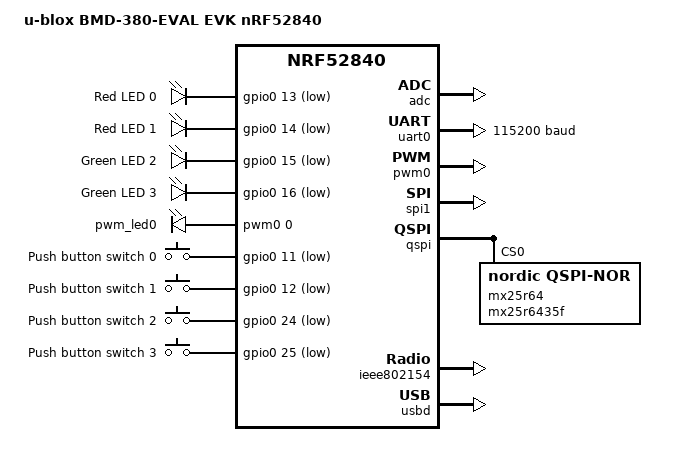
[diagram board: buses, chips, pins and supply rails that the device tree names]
/*
 * BMD-380-EVAL board configuration
 * Copyright (c) 2021 u-blox AG
 *
 * SPDX-License-Identifier: Apache-2.0
 */

/dts-v1/;
#include <nordic/nrf52840_qiaa.dtsi>
#include "ubx_bmd380eval_nrf52840-pinctrl.dtsi"
/* should be ckaa, but not available yet */

/ {
	model = "u-blox BMD-380-EVAL EVK nRF52840";
	compatible = "u-blox,ubx-bmd380eval-nrf52840";

	chosen {
		zephyr,console = &uart0;
		zephyr,shell-uart = &uart0;
		zephyr,uart-mcumgr = &uart0;
		zephyr,bt-mon-uart = &uart0;
		zephyr,bt-c2h-uart = &uart0;
		zephyr,sram = &sram0;
		zephyr,flash = &flash0;
		zephyr,code-partition = &slot0_partition;
		zephyr,ieee802154 = &ieee802154;
	};

	leds {
		compatible = "gpio-leds";
		led0: led_0 {
			gpios = <&gpio0 13 GPIO_ACTIVE_LOW>;
			label = "Red LED 0";
		};
		led1: led_1 {
			gpios = <&gpio0 14 GPIO_ACTIVE_LOW>;
			label = "Red LED 1";
		};
		led2: led_2 {
			gpios = <&gpio0 15 GPIO_ACTIVE_LOW>;
			label = "Green LED 2";
		};
		led3: led_3 {
			gpios = <&gpio0 16 GPIO_ACTIVE_LOW>;
			label = "Green LED 3";
		};
	};

	pwmleds {
		compatible = "pwm-leds";
		pwm_led0: pwm_led_0 {
			pwms = <&pwm0 0 PWM_MSEC(20) PWM_POLARITY_INVERTED>;
		};
	};

	buttons {
		compatible = "gpio-keys";
		button0: button_0 {
			gpios = <&gpio0 11 (GPIO_PULL_UP | \
					    GPIO_ACTIVE_LOW)>;
			label = "Push button switch 0";
		};
		button1: button_1 {
			gpios = <&gpio0 12 (GPIO_PULL_UP | \
					    GPIO_ACTIVE_LOW)>;
			label = "Push button switch 1";
		};
		button2: button_2 {
			gpios = <&gpio0 24 (GPIO_PULL_UP | \
					    GPIO_ACTIVE_LOW)>;
			label = "Push button switch 2";
		};
		button3: button_3 {
			gpios = <&gpio0 25 (GPIO_PULL_UP | \
					    GPIO_ACTIVE_LOW)>;
			label = "Push button switch 3";
		};
	};

	/* These aliases are provided for compatibility with samples */
	aliases {
		led0 = &led0;
		led1 = &led1;
		led2 = &led2;
		led3 = &led3;
		pwm-led0 = &pwm_led0;
		sw0 = &button0;
		sw1 = &button1;
		sw2 = &button2;
		sw3 = &button3;
		watchdog0 = &wdt0;
	};
};

&adc {
	status = "okay";
};

&gpiote {
	status = "okay";
};

&gpio0 {
	status = "okay";
};

&gpio1 {
	status = "okay";
};

&uart0 {
	compatible = "nordic,nrf-uart";
	status = "okay";
	current-speed = <115200>;
	pinctrl-0 = <&uart0_default>;
	pinctrl-1 = <&uart0_sleep>;
	pinctrl-names = "default", "sleep";
};

&i2c1 {
	compatible = "nordic,nrf-twi";
	/* Cannot be used together with spi1. */
	/* status = "okay"; */
	pinctrl-0 = <&i2c1_default>;
	pinctrl-1 = <&i2c1_sleep>;
	pinctrl-names = "default", "sleep";
};

&pwm0 {
	status = "okay";
	pinctrl-0 = <&pwm0_default>;
	pinctrl-1 = <&pwm0_sleep>;
	pinctrl-names = "default", "sleep";
};

&spi0 {
	compatible = "nordic,nrf-spi";
	/* Cannot be used together with i2c0. */
	/* status = "okay"; */
	pinctrl-0 = <&spi0_default>;
	pinctrl-1 = <&spi0_sleep>;
	pinctrl-names = "default", "sleep";
};

&spi1 {
	compatible = "nordic,nrf-spi";
	status = "okay";
	pinctrl-0 = <&spi1_default>;
	pinctrl-1 = <&spi1_sleep>;
	pinctrl-names = "default", "sleep";
};

&spi2 {
	compatible = "nordic,nrf-spi";
	status = "disabled";
	pinctrl-0 = <&spi2_default>;
	pinctrl-1 = <&spi2_sleep>;
	pinctrl-names = "default", "sleep";
};

&qspi {
	status = "okay";
	pinctrl-0 = <&qspi_default>;
	pinctrl-1 = <&qspi_sleep>;
	pinctrl-names = "default", "sleep";
	mx25r64: mx25r6435f@0 {
		compatible = "nordic,qspi-nor";
		reg = <0>;
		writeoc = "pp4io";
		readoc = "read4io";
		sck-frequency = <8000000>;
		jedec-id = [c2 28 17];
		sfdp-bfp = [
			e5 20 f1 ff  ff ff ff 03
			44 eb 08 6b  08 3b 04 bb
			ee ff ff ff  ff ff 00 ff
			ff ff 00 ff  0c 20 0f 52
			10 d8 00 ff  23 72 f5 00
			82 ed 04 cc  44 83 68 44
			30 b0 30 b0  f7 c4 d5 5c
			00 be 29 ff  f0 d0 ff ff
		];
		size = <67108864>;
		has-dpd;
		t-enter-dpd = <10000>;
		t-exit-dpd = <35000>;
	};
};

&ieee802154 {
	status = "okay";
};

&flash0 {
	/*
	 * For more information, see:
	 * https://docs.zephyrproject.org/latest/guides/dts/\
	   legacy-macros.html#legacy-flash-partitions
	 */
	partitions {
		compatible = "fixed-partitions";
		#address-cells = <1>;
		#size-cells = <1>;

		boot_partition: partition@0 {
			label = "mcuboot";
			reg = <0x00000000 0x0000C000>;
		};
		slot0_partition: partition@c000 {
			label = "image-0";
			reg = <0x0000C000 0x00067000>;
		};
		slot1_partition: partition@73000 {
			label = "image-1";
			reg = <0x00073000 0x00067000>;
		};
		scratch_partition: partition@da000 {
			label = "image-scratch";
			reg = <0x000da000 0x0001e000>;
		};

		/*
		 * The flash starting at 0x000f8000 and ending at
		 * 0x000fffff is reserved for use by the application.
		 */

		/*
		 * Storage partition will be used by FCB/LittleFS/NVS
		 * if enabled.
		 */
		storage_partition: partition@f8000 {
			label = "storage";
			reg = <0x000f8000 0x00008000>;
		};
	};
};

zephyr_udc0: &usbd {
	compatible = "nordic,nrf-usbd";
	status = "okay";
};
